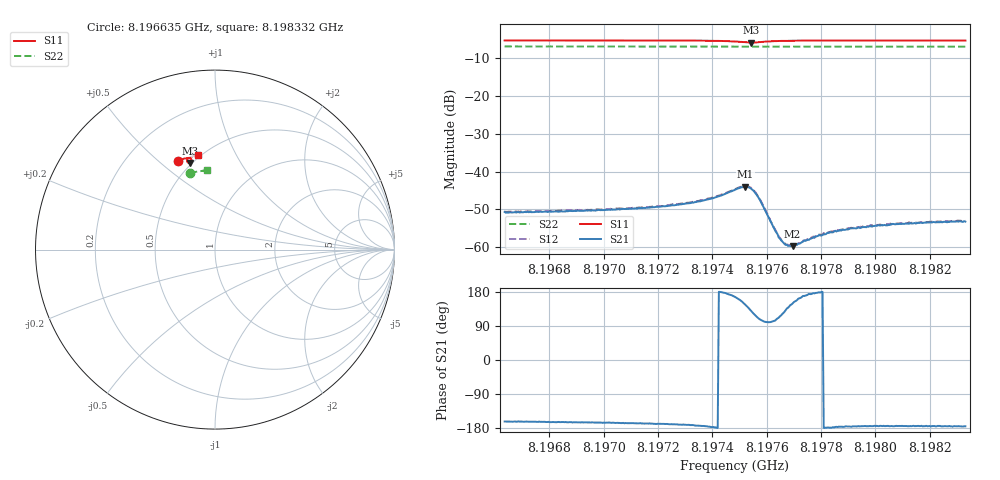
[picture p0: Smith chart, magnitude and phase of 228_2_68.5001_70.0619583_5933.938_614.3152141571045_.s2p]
#  HZ  S  RI  R  50.00
! Rohde & Schwarz Vector Network Analyzer
! Rohde-Schwarz,ZNB20-2Port,1311601062101988,3.16
! Created: UTC 3/20/2024, 5:13:56 PM
! freq[Hz]  re:S11  im:S11  re:S21  im:S21  re:S12  im:S12  re:S22  im:S22
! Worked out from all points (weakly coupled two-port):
!   401 points, 8.196635 GHz to 8.198332 GHz, reference 50 ohm
!   highest |S21| = -43.98 dB at 8.197522 GHz (marker M1); lowest = -59.7 dB at 8.197696 GHz (marker M2)
!   lowest |S11| = -6.0 dB at 8.197543 GHz (marker M3), VSWR 3.02, Z = 24.4 + j31.6 ohm
!   |S11| at or under -10 dB: nowhere
!   |S22| runs from -7.1 to -7.0 dB; largest |S21 - S12| = 0.00032
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8.1966355e9  -0.2062 0.4951  -0.00279 -0.00089  -0.00283 -0.000807  -0.1382 0.4251
8.1969196e9  -0.1865 0.5025  -0.00292 -0.000823  -0.00301 -0.00071  -0.1228 0.4292
8.1972037e9  -0.1649 0.509  -0.00336 -0.000683  -0.00347 -0.000563  -0.107 0.4329
8.1973097e9  -0.1554 0.5106  -0.00376 -0.000583  -0.00386 -0.000429  -0.1012 0.4339
8.1973648e9  -0.1495 0.5111  -0.0041 -0.000419  -0.00418 -0.000258  -0.098 0.4345
8.1974327e9  -0.1402 0.5096  -0.00482 7.59e-05  -0.00494 0.000292  -0.0942 0.4353
8.1974836e9  -0.1318 0.5029  -0.0056 0.00135  -0.00563 0.00158  -0.0914 0.4355
8.1975217e9  -0.1311 0.4898  -0.00524 0.00354  -0.00518 0.00382  -0.0893 0.4357
8.1975429e9  -0.1384 0.4833  -0.00377 0.00459  -0.00371 0.00485  -0.0883 0.4358
8.1975556e9  -0.1446 0.4827  -0.00265 0.00466  -0.0025 0.00489  -0.0879 0.4359
8.1975726e9  -0.1515 0.4863  -0.00138 0.00415  -0.00127 0.00426  -0.0871 0.436
8.1976362e9  -0.1538 0.5039  -0.000472 0.0015  -0.000387 0.00156  -0.0837 0.4371
8.1976532e9  -0.1519 0.5066  -0.000579 0.0011  -0.000538 0.00115  -0.0826 0.4375
8.1976744e9  -0.1496 0.5092  -0.000779 0.000759  -0.000714 0.000813  -0.0815 0.4375
8.1976956e9  -0.1471 0.5111  -0.000889 0.000532  -0.000922 0.000588  -0.0803 0.4377
8.197721e9  -0.1444 0.5129  -0.00107 0.00033  -0.00108 0.000372  -0.0789 0.438
8.1977677e9  -0.1396 0.5151  -0.00132 0.000109  -0.00135 0.000178  -0.076 0.4384
8.1978313e9  -0.1339 0.5175  -0.00156 -4.06e-05  -0.00159 3.04e-05  -0.0726 0.4391
8.1978906e9  -0.1289 0.5189  -0.0017 -0.000145  -0.00177 -4.54e-05  -0.0691 0.4394
8.1980518e9  -0.1163 0.5222  -0.00197 -0.000181  -0.00203 -0.000125  -0.0602 0.4403
8.1982087e9  -0.1046 0.5246  -0.00212 -0.000205  -0.00219 -0.000101  -0.0512 0.4412
8.1983316e9  -0.0956 0.5262  -0.00218 -0.00019  -0.00223 -0.000119  -0.0443 0.4417
